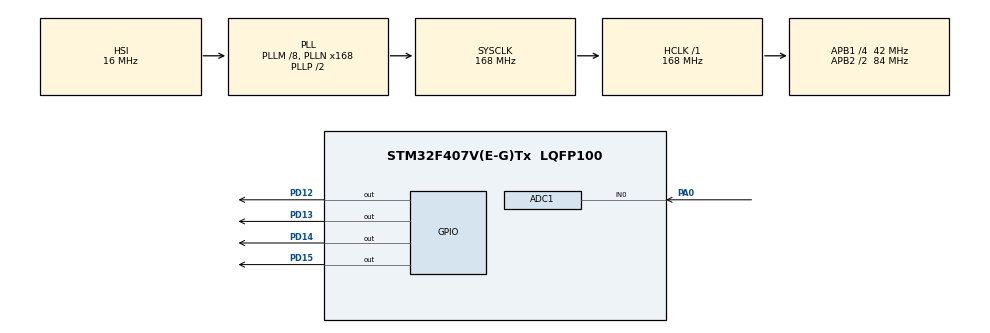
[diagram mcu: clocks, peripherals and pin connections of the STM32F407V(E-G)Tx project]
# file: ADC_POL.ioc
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ADC1.Channel-0\#ChannelRegularConversion=ADC_CHANNEL_0
ADC1.ClockPrescaler=ADC_CLOCK_SYNC_PCLK_DIV4
ADC1.ContinuousConvMode=ENABLE
ADC1.EOCSelection=ADC_EOC_SEQ_CONV
ADC1.NbrOfConversionFlag=1
ADC1.Rank-0\#ChannelRegularConversion=1
ADC1.SamplingTime-0\#ChannelRegularConversion=ADC_SAMPLETIME_3CYCLES
ADC1.master=1
Mcu.Family=STM32F4
Mcu.Name=STM32F407V(E-G)Tx
Mcu.Package=LQFP100
NVIC.PriorityGroup=NVIC_PRIORITYGROUP_4
PA0-WKUP.Signal=ADCx_IN0
PD12.Signal=GPIO_Output
PD13.Signal=GPIO_Output
PD14.Signal=GPIO_Output
PD15.Signal=GPIO_Output
PH0-OSC_IN.Mode=HSE-External-Oscillator
PH0-OSC_IN.Signal=RCC_OSC_IN
PH1-OSC_OUT.Mode=HSE-External-Oscillator
PH1-OSC_OUT.Signal=RCC_OSC_OUT
ProjectManager.HeapSize=0x200
ProjectManager.StackSize=0x400
ProjectManager.TargetToolchain=MDK-ARM V5
RCC.48MHZClocksFreq_Value=84000000
RCC.AHBFreq_Value=168000000
RCC.APB1CLKDivider=RCC_HCLK_DIV4
RCC.APB1Freq_Value=42000000
RCC.APB1TimFreq_Value=84000000
RCC.APB2CLKDivider=RCC_HCLK_DIV2
RCC.APB2Freq_Value=84000000
RCC.APB2TimFreq_Value=168000000
RCC.CortexFreq_Value=168000000
RCC.HCLKFreq_Value=168000000
RCC.HSE_VALUE=8000000
RCC.HSI_VALUE=16000000
RCC.LSE_VALUE=32768
RCC.PLLM=8
RCC.PLLN=168
RCC.SYSCLKFreq_VALUE=168000000
RCC.SYSCLKSource=RCC_SYSCLKSOURCE_PLLCLK
RCC.VCOOutputFreq_Value=336000000
SH.ADCx_IN0.0=ADC1_IN0,IN0
board=custom

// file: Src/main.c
/**
  ******************************************************************************
  * @file           : main.c
  * @brief          : Main program body
  ******************************************************************************
  ** This notice applies to any and all portions of this file
  * that are not between comment pairs USER CODE BEGIN and
  * USER CODE END. Other portions of this file, whether
  * inserted by the user or by software development tools
  * are owned by their respective copyright owners.
  *
  * COPYRIGHT(c) 2018 STMicroelectronics
  *
  * Redistribution and use in source and binary forms, with or without modification,
  * are permitted provided that the following conditions are met:
  *   1. Redistributions of source code must retain the above copyright notice,
  *      this list of conditions and the following disclaimer.
  *   2. Redistributions in binary form must reproduce the above copyright notice,
  *      this list of conditions and the following disclaimer in the documentation
  *      and/or other materials provided with the distribution.
  *   3. Neither the name of STMicroelectronics nor the names of its contributors
  *      may be used to endorse or promote products derived from this software
  *      without specific prior written permission.
  *
  * THIS SOFTWARE IS PROVIDED BY THE COPYRIGHT HOLDERS AND CONTRIBUTORS "AS IS"
  * AND ANY EXPRESS OR IMPLIED WARRANTIES, INCLUDING, BUT NOT LIMITED TO, THE
  * IMPLIED WARRANTIES OF MERCHANTABILITY AND FITNESS FOR A PARTICULAR PURPOSE ARE
  * DISCLAIMED. IN NO EVENT SHALL THE COPYRIGHT HOLDER OR CONTRIBUTORS BE LIABLE
  * FOR ANY DIRECT, INDIRECT, INCIDENTAL, SPECIAL, EXEMPLARY, OR CONSEQUENTIAL
  * DAMAGES (INCLUDING, BUT NOT LIMITED TO, PROCUREMENT OF SUBSTITUTE GOODS OR
  * SERVICES; LOSS OF USE, DATA, OR PROFITS; OR BUSINESS INTERRUPTION) HOWEVER
  * CAUSED AND ON ANY THEORY OF LIABILITY, WHETHER IN CONTRACT, STRICT LIABILITY,
  * OR TORT (INCLUDING NEGLIGENCE OR OTHERWISE) ARISING IN ANY WAY OUT OF THE USE
  * OF THIS SOFTWARE, EVEN IF ADVISED OF THE POSSIBILITY OF SUCH DAMAGE.
  *
  ******************************************************************************
  */
#include "main.h"
#include "stm32f4xx_hal.h"

/* USER CODE BEGIN Includes */
	/*
	ADC1 PA0 ADC pininni okur
	ADC degerine göre ledlerin durumunu degistirir
	ADC degerini Pol okur yani biz istedigimiz zaman okuma yapar otomatik yapmaz
	*/
/* USER CODE END Includes */

ADC_HandleTypeDef hadc1;

/* USER CODE BEGIN PV */
/* Private variables ---------------------------------------------------------*/
		uint16_t adcValue = 0;

/* USER CODE END PV */

void SystemClock_Config(void);
static void MX_GPIO_Init(void);
static void MX_ADC1_Init(void);

/* USER CODE BEGIN PFP */
/* Private function prototypes -----------------------------------------------*/

/* USER CODE END PFP */

/* USER CODE BEGIN 0 */
	uint16_t readADC (void)
	{
		if(HAL_ADC_PollForConversion(&hadc1,100) == HAL_OK)	//ADC okumasinda sikinti yoksa (100 timeout degeri)
			return HAL_ADC_GetValue(&hadc1);
		return 0;
	}
/* USER CODE END 0 */

int main(void)
{

  /* MCU Configuration----------------------------------------------------------*/

  /* Reset of all peripherals, Initializes the Flash interface and the Systick. */
  HAL_Init();

  /* Configure the system clock */
  SystemClock_Config();

  /* Initialize all configured peripherals */
  MX_GPIO_Init();
  MX_ADC1_Init();
  /* USER CODE BEGIN 2 */
	HAL_ADC_Start(&hadc1);
  /* USER CODE END 2 */

  /* Infinite loop */
  while (1)
  {

  /* USER CODE BEGIN 3 */
		adcValue = readADC();
		//HAL_Delay(1000);
		if(adcValue < 1024)
		{
			HAL_GPIO_WritePin(GPIOD,GPIO_PIN_12,GPIO_PIN_SET);
			HAL_GPIO_WritePin(GPIOD,GPIO_PIN_13,GPIO_PIN_RESET);
			HAL_GPIO_WritePin(GPIOD,GPIO_PIN_14,GPIO_PIN_RESET);
			HAL_GPIO_WritePin(GPIOD,GPIO_PIN_15,GPIO_PIN_RESET);
		}
		else if(adcValue >= 1024 && adcValue < 2048)
		{
			HAL_GPIO_WritePin(GPIOD,GPIO_PIN_12,GPIO_PIN_SET);
			HAL_GPIO_WritePin(GPIOD,GPIO_PIN_13,GPIO_PIN_SET);
			HAL_GPIO_WritePin(GPIOD,GPIO_PIN_14,GPIO_PIN_RESET);
			HAL_GPIO_WritePin(GPIOD,GPIO_PIN_15,GPIO_PIN_RESET);
		}
		else if(adcValue >= 2048 && adcValue < 3072)
		{
			HAL_GPIO_WritePin(GPIOD,GPIO_PIN_12,GPIO_PIN_SET);
			HAL_GPIO_WritePin(GPIOD,GPIO_PIN_13,GPIO_PIN_SET);
			HAL_GPIO_WritePin(GPIOD,GPIO_PIN_14,GPIO_PIN_SET);
			HAL_GPIO_WritePin(GPIOD,GPIO_PIN_15,GPIO_PIN_RESET);
		}
		else if(adcValue >= 3072)
		{
			HAL_GPIO_WritePin(GPIOD,GPIO_PIN_12,GPIO_PIN_SET);
			HAL_GPIO_WritePin(GPIOD,GPIO_PIN_13,GPIO_PIN_SET);
			HAL_GPIO_WritePin(GPIOD,GPIO_PIN_14,GPIO_PIN_SET);
			HAL_GPIO_WritePin(GPIOD,GPIO_PIN_15,GPIO_PIN_SET);
		}
  }
  /* USER CODE END 3 */

}

void SystemClock_Config(void)
{

  RCC_OscInitTypeDef RCC_OscInitStruct;
  RCC_ClkInitTypeDef RCC_ClkInitStruct;

    /**Configure the main internal regulator output voltage
    */
  __HAL_RCC_PWR_CLK_ENABLE();

  __HAL_PWR_VOLTAGESCALING_CONFIG(PWR_REGULATOR_VOLTAGE_SCALE1);

    /**Initializes the CPU, AHB and APB busses clocks
    */
  RCC_OscInitStruct.OscillatorType = RCC_OSCILLATORTYPE_HSI;
  RCC_OscInitStruct.HSIState = RCC_HSI_ON;
  RCC_OscInitStruct.HSICalibrationValue = 16;
  RCC_OscInitStruct.PLL.PLLState = RCC_PLL_ON;
  RCC_OscInitStruct.PLL.PLLSource = RCC_PLLSOURCE_HSI;
  RCC_OscInitStruct.PLL.PLLM = 8;
  RCC_OscInitStruct.PLL.PLLN = 168;
  RCC_OscInitStruct.PLL.PLLP = RCC_PLLP_DIV2;
  RCC_OscInitStruct.PLL.PLLQ = 4;
  if (HAL_RCC_OscConfig(&RCC_OscInitStruct) != HAL_OK)
  {
    _Error_Handler(__FILE__, __LINE__);
  }

    /**Initializes the CPU, AHB and APB busses clocks
    */
  RCC_ClkInitStruct.ClockType = RCC_CLOCKTYPE_HCLK|RCC_CLOCKTYPE_SYSCLK
                              |RCC_CLOCKTYPE_PCLK1|RCC_CLOCKTYPE_PCLK2;
  RCC_ClkInitStruct.SYSCLKSource = RCC_SYSCLKSOURCE_PLLCLK;
  RCC_ClkInitStruct.AHBCLKDivider = RCC_SYSCLK_DIV1;
  RCC_ClkInitStruct.APB1CLKDivider = RCC_HCLK_DIV4;
  RCC_ClkInitStruct.APB2CLKDivider = RCC_HCLK_DIV2;

  if (HAL_RCC_ClockConfig(&RCC_ClkInitStruct, FLASH_LATENCY_5) != HAL_OK)
  {
    _Error_Handler(__FILE__, __LINE__);
  }

    /**Configure the Systick interrupt time
    */
  HAL_SYSTICK_Config(HAL_RCC_GetHCLKFreq()/1000);

    /**Configure the Systick
    */
  HAL_SYSTICK_CLKSourceConfig(SYSTICK_CLKSOURCE_HCLK);

  /* SysTick_IRQn interrupt configuration */
  HAL_NVIC_SetPriority(SysTick_IRQn, 0, 0);
}

/* ADC1 init function */
static void MX_ADC1_Init(void)
{

  ADC_ChannelConfTypeDef sConfig;

    /**Configure the global features of the ADC (Clock, Resolution, Data Alignment and number of conversion)
    */
  hadc1.Instance = ADC1;
  hadc1.Init.ClockPrescaler = ADC_CLOCK_SYNC_PCLK_DIV4;
  hadc1.Init.Resolution = ADC_RESOLUTION_12B;
  hadc1.Init.ScanConvMode = DISABLE;
  hadc1.Init.ContinuousConvMode = ENABLE;
  hadc1.Init.DiscontinuousConvMode = DISABLE;
  hadc1.Init.ExternalTrigConvEdge = ADC_EXTERNALTRIGCONVEDGE_NONE;
  hadc1.Init.ExternalTrigConv = ADC_SOFTWARE_START;
  hadc1.Init.DataAlign = ADC_DATAALIGN_RIGHT;
  hadc1.Init.NbrOfConversion = 1;
  hadc1.Init.DMAContinuousRequests = DISABLE;
  hadc1.Init.EOCSelection = ADC_EOC_SEQ_CONV;
  if (HAL_ADC_Init(&hadc1) != HAL_OK)
  {
    _Error_Handler(__FILE__, __LINE__);
  }

    /**Configure for the selected ADC regular channel its corresponding rank in the sequencer and its sample time.
    */
  sConfig.Channel = ADC_CHANNEL_0;
  sConfig.Rank = 1;
  sConfig.SamplingTime = ADC_SAMPLETIME_3CYCLES;
  if (HAL_ADC_ConfigChannel(&hadc1, &sConfig) != HAL_OK)
  {
    _Error_Handler(__FILE__, __LINE__);
  }

}

/** Configure pins as
        * Analog
        * Input
        * Output
        * EVENT_OUT
        * EXTI
*/
static void MX_GPIO_Init(void)
{

  GPIO_InitTypeDef GPIO_InitStruct;

  /* GPIO Ports Clock Enable */
  __HAL_RCC_GPIOH_CLK_ENABLE();
  __HAL_RCC_GPIOA_CLK_ENABLE();
  __HAL_RCC_GPIOD_CLK_ENABLE();

  /*Configure GPIO pin Output Level */
  HAL_GPIO_WritePin(GPIOD, GPIO_PIN_12|GPIO_PIN_13|GPIO_PIN_14|GPIO_PIN_15, GPIO_PIN_RESET);

  /*Configure GPIO pins : PD12 PD13 PD14 PD15 */
  GPIO_InitStruct.Pin = GPIO_PIN_12|GPIO_PIN_13|GPIO_PIN_14|GPIO_PIN_15;
  GPIO_InitStruct.Mode = GPIO_MODE_OUTPUT_PP;
  GPIO_InitStruct.Pull = GPIO_NOPULL;
  GPIO_InitStruct.Speed = GPIO_SPEED_FREQ_LOW;
  HAL_GPIO_Init(GPIOD, &GPIO_InitStruct);

}

void _Error_Handler(char *file, int line)
{
  while(1)
  {
  }
}

/************************ (C) COPYRIGHT STMicroelectronics *****END OF FILE****/
